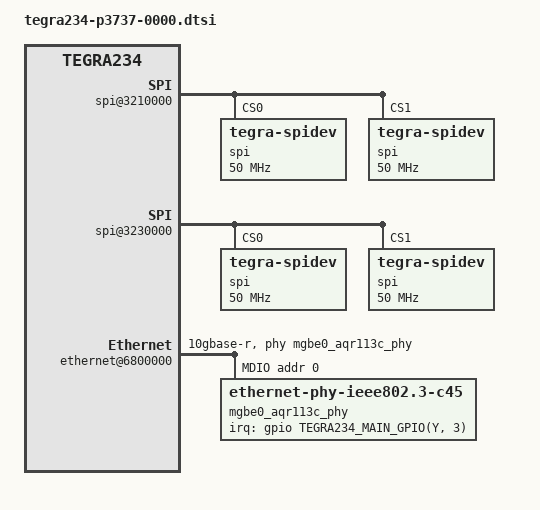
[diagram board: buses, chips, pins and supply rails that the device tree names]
// SPDX-License-Identifier: GPL-2.0-only
// SPDX-FileCopyrightText: Copyright (c) 2022-2023, NVIDIA CORPORATION & AFFILIATES.  All rights reserved.

/ {
	bus@0 {
		spi@3210000{ /* SPI1 in 40 pin conn */
			spi@0 { /* chip select 0 */
				compatible = "tegra-spidev";
				reg = <0x0>;
				spi-max-frequency = <50000000>;
			};
			spi@1 { /* chips select 1 */
				compatible = "tegra-spidev";
				reg = <0x1>;
				spi-max-frequency = <50000000>;
			};
		};

		spi@3230000{ /* SPI3 in 40 pin conn */
			spi@0 { /* chip select 0 */
				compatible = "tegra-spidev";
				reg = <0x0>;
				spi-max-frequency = <50000000>;
			};
			spi@1 { /* chips select 1 */
				compatible = "tegra-spidev";
				reg = <0x1>;
				spi-max-frequency = <50000000>;
			};
		};

		padctl@3520000 {
			ports {
				usb2-0 {
					mode = "otg";
					usb-role-switch;
				};
			};
		};

		aconnect@2900000 {
			ahub@2900800 {
				i2s@2901100 {
					ports {
						port@1 {
							hdr40_snd_i2s_dap_ep: endpoint {
							};
						};
					};
				};
			};
		};

		ethernet@6800000 {
			nvidia,mac-addr-idx = <0>;
			nvidia,max-platform-mtu = <16383>;
			/* 1=enable, 0=disable */
			nvidia,pause_frames = <1>;
			phy-handle = <&mgbe0_aqr113c_phy>;
			phy-mode = "10gbase-r";
			/* 0:XFI 10G, 1:XFI 5G, 2:USXGMII 10G, 3:USXGMII 5G */
			nvidia,phy-iface-mode = <0>;
			nvidia,phy-reset-gpio = <&gpio TEGRA234_MAIN_GPIO(Y, 1) 0>;
			nvidia,mdio_addr = <0>;

			mdio {
				compatible = "nvidia,eqos-mdio";
				#address-cells = <1>;
				#size-cells = <0>;

				mgbe0_aqr113c_phy: phy@0 {
					compatible = "ethernet-phy-ieee802.3-c45";
					reg = <0x0>;
					nvidia,phy-rst-pdelay-msec = <150>; /* msec */
					nvidia,phy-rst-duration-usec = <221000>; /* usec */
					interrupt-parent = <&gpio>;
					interrupts = <TEGRA234_MAIN_GPIO(Y, 3) IRQ_TYPE_LEVEL_LOW>;
				};
			};
		};
	};

	tegra_sound_graph: tegra_sound: sound {
		compatible = "nvidia,tegra186-audio-graph-card",
			     "nvidia,tegra186-ape";
		clocks = <&bpmp TEGRA234_CLK_PLLA>,
			 <&bpmp TEGRA234_CLK_PLLA_OUT0>,
			 <&bpmp TEGRA234_CLK_AUD_MCLK>;
		clock-names = "pll_a", "plla_out0", "extern1";
		assigned-clocks = <&bpmp TEGRA234_CLK_AUD_MCLK>;
		assigned-clock-parents = <&bpmp TEGRA234_CLK_PLLA_OUT0>;

		nvidia-audio-card,name = "NVIDIA Jetson AGX Orin APE";

		nvidia-audio-card,mclk-fs = <256>;

		hdr40_snd_link_i2s: nvidia-audio-card,dai-link@77 { };
	};

	eeprom-manager {
		data-size = <0x100>;
		bus@0 {
			i2c-bus = <&gen1_i2c>;
			eeprom@1 {
				slave-address = <0x56>;
				label = "cvb";
			};
		};
		bus@1 {
			i2c-bus = <&cam_i2c>;
			eeprom@0 {
				slave-address = <0x54>;
				label = "sensor0";
			};
			eeprom@1 {
				slave-address = <0x57>;
				label = "sensor1";
			};
			eeprom@2 {
				slave-address = <0x52>;
				label = "sensor2";
			};
		};
	};
};
